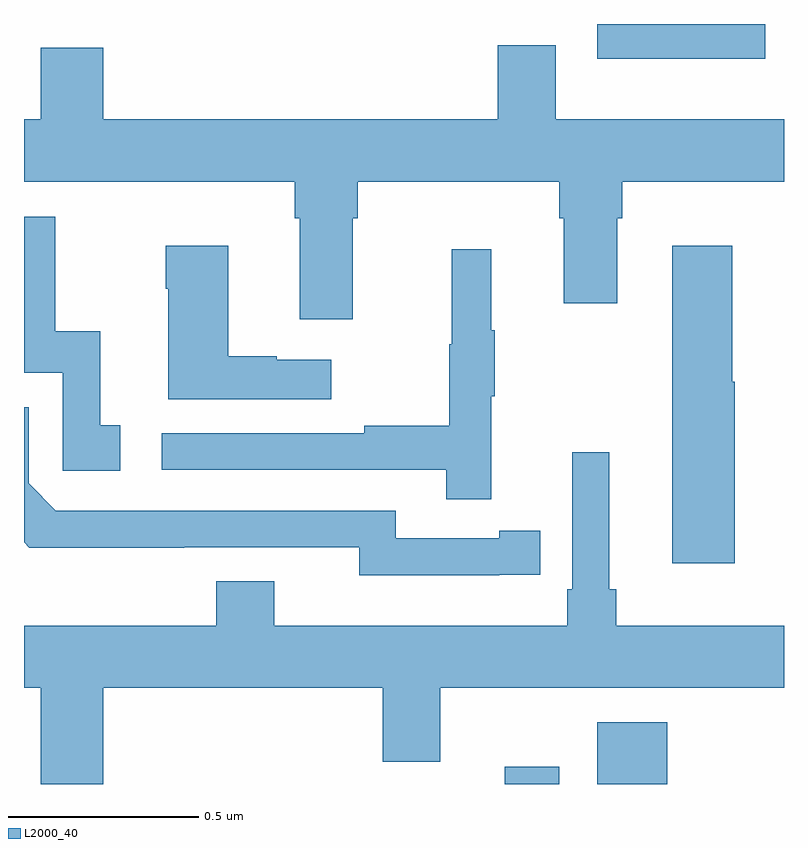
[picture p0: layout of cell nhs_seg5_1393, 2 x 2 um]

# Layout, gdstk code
import gdstk
lib = gdstk.Library(unit=1e-6, precision=1e-09)
def R(c, l, rs):  # rectangles x0, y0, x1, y1
    for r in rs: c.add(gdstk.rectangle(r[:2], r[2:], *l))
def P(c, l, *ps):  # polygons
    for p in ps: c.add(gdstk.Polygon(p, *l))
L2000_40 = (2000, 40)

nhs_seg5_1393 = lib.new_cell('nhs_seg5_1393')
R(nhs_seg5_1393, L2000_40, [(130.265,897.799,130.408,897.844), (130.508,897.799,130.693,897.961), (130.508,899.708,130.951,899.799)])
P(nhs_seg5_1393, L2000_40, [(129.865,899.288),(129.878,899.288),(129.878,899.384),(130.409,899.384),(130.409,899.288),(130.421,899.288),(130.421,899.064),(130.561,899.064),(130.561,899.288),(130.574,899.288),(130.574,899.384),(131,899.384),(131,899.548),(130.399,899.548),(130.399,899.743),(130.247,899.743),(130.247,899.548),(129.208,899.548),(129.208,899.737),(129.044,899.737),(129.044,899.548),(129,899.548),(129,899.384),(129.713,899.384),(129.713,899.288),(129.725,899.288),(129.725,899.022),(129.865,899.022)],
  [(129.253,898.743),(129.2,898.743),(129.2,898.99),(129.082,898.99),(129.082,899.292),(129,899.292),(129,898.881),(129.102,898.881),(129.102,898.623),(129.253,898.623)],
  [(130.87,898.857),(130.864,898.857),(130.864,899.215),(130.706,899.215),(130.706,898.38),(130.87,898.38)],
  [(129.808,898.915),(129.665,898.915),(129.665,898.925),(129.538,898.925),(129.538,899.215),(129.373,899.215),(129.373,899.102),(129.38,899.102),(129.38,898.811),(129.808,898.811)],
  [(130.229,898.819),(130.239,898.819),(130.239,898.993),(130.229,898.993),(130.229,899.206),(130.126,899.206),(130.126,898.956),(130.119,898.956),(130.119,898.742),(129.895,898.742),(129.895,898.722),(129.363,898.722),(129.363,898.626),(130.111,898.626),(130.111,898.548),(130.229,898.548)],
  [(130.25,898.35),(130.358,898.35),(130.358,898.466),(130.25,898.466),(130.25,898.446),(129.978,898.446),(129.978,898.518),(129.084,898.518),(129.012,898.59),(129.012,898.791),(129,898.791),(129,898.435),(129.014,898.421),(129.422,898.421),(129.422,898.422),(129.882,898.422),(129.882,898.349),(130.25,898.349)],
  [(130.443,898.672),(130.443,898.312),(130.43,898.312),(130.43,898.216),(129.658,898.216),(129.658,898.333),(129.506,898.333),(129.506,898.216),(129,898.216),(129,898.052),(129.044,898.052),(129.044,897.799),(129.208,897.799),(129.208,898.052),(129.944,898.052),(129.944,897.858),(130.096,897.858),(130.096,898.052),(131,898.052),(131,898.216),(130.559,898.216),(130.559,898.312),(130.54,898.312),(130.54,898.672)])

lib.write_gds('nhs_seg5_1393.gds')
